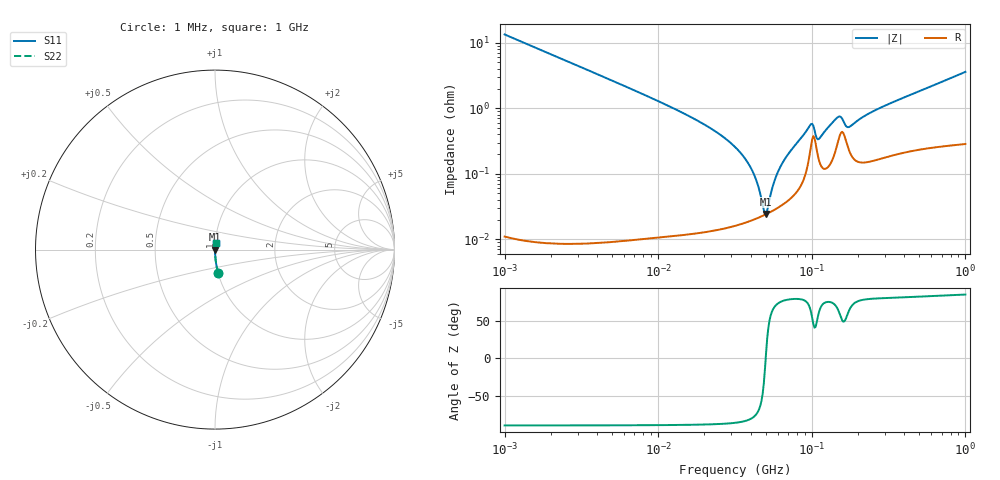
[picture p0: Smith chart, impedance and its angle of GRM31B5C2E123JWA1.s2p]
!Murata Part Number: GRM31B5C2E123JWA1
!These Parameters are Measured in Series Mode Connection
!Data Generated on Mar 30, 2021
!  o--ll--o
!Port1  Port2
!  o------o
!Operation Temp=25[degC], DC Bias Voltage=0[V]
!Freq. Start=1000[kHz] Stop=1000[MHz] 401[Steps]
# Hz S RI R 50
!Freq.(Hz) S11(Real) S11(Imag) S21(Real) S21(Imag) S12(Real) S12(Imag) S22(Real) S22(Imag)
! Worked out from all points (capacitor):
!   401 points, 1 MHz to 1 GHz, reference 50 ohm
!   read as one part in series: C = 11.9 nF near 1.035 MHz
!   lowest |Z| = 24.3 mohm at 50.41 MHz (marker M1)
!   series resonance near 50.11 MHz, so ESL is about 850 pH
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1000000  0.0177 -0.1314  0.9823 0.1314  0.9823 0.1314  0.0177 -0.1314
3180534  0.00184 -0.0418  0.9982 0.0418  0.9982 0.0418  0.00184 -0.0418
1.01158e7  0.000267 -0.0127  0.9997 0.0127  0.9997 0.0127  0.000267 -0.0127
2.053525e7  0.000159 -0.00543  0.9998 0.00543  0.9998 0.00543  0.000159 -0.00543
3.162278e7  0.000167 -0.00256  0.9998 0.00256  0.9998 0.00256  0.000167 -0.00256
3.694026e7  0.000182 -0.00167  0.9998 0.00167  0.9998 0.00167  0.000182 -0.00167
4.097321e7  0.000196 -0.0011  0.9998 0.0011  0.9998 0.0011  0.000196 -0.0011
4.466836e7  0.000212 -0.000625  0.9998 0.000625  0.9998 0.000625  0.000212 -0.000625
4.869675e7  0.000232 -0.000155  0.9998 0.000155  0.9998 0.000155  0.000232 -0.000155
5.040806e7  0.000241 3.3e-05  0.9998 -3.3e-05  0.9998 -3.3e-05  0.000241 3.3e-05
5.217951e7  0.000251 0.000222  0.9997 -0.000222  0.9997 -0.000222  0.000251 0.000222
5.688529e7  0.00028 0.000702  0.9997 -0.000702  0.9997 -0.000702  0.00028 0.000702
6.309573e7  0.000327 0.0013  0.9997 -0.0013  0.9997 -0.0013  0.000327 0.0013
9.549926e7  0.00165 0.00483  0.9984 -0.00483  0.9984 -0.00483  0.00165 0.00483
1.005773e8  0.00337 0.00467  0.9966 -0.00467  0.9966 -0.00467  0.00337 0.00467
1.077705e8  0.0023 0.00259  0.9977 -0.00259  0.9977 -0.00259  0.0023 0.00259
1.115578e8  0.00159 0.00303  0.9984 -0.00303  0.9984 -0.00303  0.00159 0.00303
1.470618e8  0.00292 0.00662  0.9971 -0.00662  0.9971 -0.00662  0.00292 0.00662
1.548817e8  0.00425 0.00594  0.9958 -0.00594  0.9958 -0.00594  0.00425 0.00594
1.747833e8  0.00229 0.00463  0.9977 -0.00463  0.9977 -0.00463  0.00229 0.00463
3.198895e8  0.00197 0.0115  0.998 -0.0115  0.998 -0.0115  0.00197 0.0115
1e9  0.00411 0.0356  0.9959 -0.0356  0.9959 -0.0356  0.00411 0.0356
